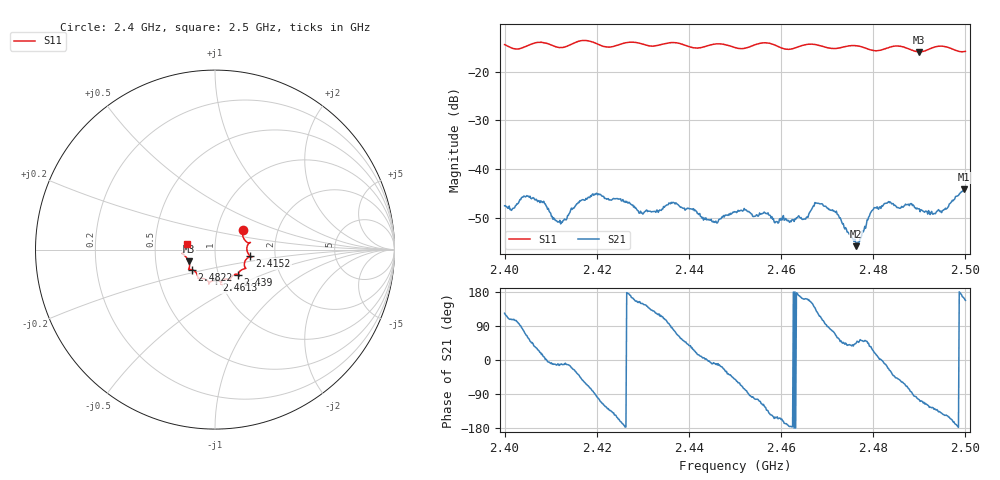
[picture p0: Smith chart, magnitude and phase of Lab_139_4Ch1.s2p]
# Hz S RI R 50
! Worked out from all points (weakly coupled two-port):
!   601 points, 2.4 GHz to 2.5 GHz, reference 50 ohm
!   highest |S21| = -44.13 dB at 2.4997 GHz (marker M1); lowest = -55.9 dB at 2.4763 GHz (marker M2)
!   lowest |S11| = -15.9 dB at 2.49 GHz (marker M3), VSWR 1.38, Z = 36.9 - j4.86 ohm
!   |S11| at or under -10 dB: start of sweep to end of sweep
!   S12 and S22 are empty: the file has one direction only
!   S11 on the Smith chart (normalised r, x): 2.4 GHz: 1.33, +0.30; 2.4152 GHz: 1.48, -0.11; 2.439 GHz: 1.24, -0.36; 2.4613 GHz: 0.96, -0.34; 2.4822 GHz: 0.76, -0.17; 2.5 GHz: 0.72, +0.05
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2.4e9  0.1551 0.1102  -0.00232 0.0035  0 0  0 0
2.405167e9  0.1832 0.0385  0.00286 0.00442  0 0  0 0
2.412e9  0.1773 0.00659  0.00291 -0.000589  0 0  0 0
2.415167e9  0.1954 -0.0359  0.00362 -0.00183  0 0  0 0
2.416667e9  0.2048 -0.0418  0.0031 -0.00365  0 0  0 0
2.420333e9  0.1863 -0.0435  -0.00112 -0.00544  0 0  0 0
2.433333e9  0.1323 -0.1326  -0.00178 0.00311  0 0  0 0
2.436167e9  0.1345 -0.1475  0.000353 0.00454  0 0  0 0
2.439e9  0.1278 -0.1388  0.00261 0.00299  0 0  0 0
2.445667e9  0.0849 -0.1732  0.00282 -0.000476  0 0  0 0
2.45e9  0.0683 -0.1638  0.00229 -0.00282  0 0  0 0
2.461333e9  0.00699 -0.17  -0.0029 -0.000478  0 0  0 0
2.466667e9  -0.0332 -0.1896  -0.00337 0.00193  0 0  0 0
2.471667e9  -0.0612 -0.1621  0.00126 0.00344  0 0  0 0
2.476333e9  -0.0942 -0.1598  0.00113 0.00115  0 0  0 0
2.479833e9  -0.1051 -0.1287  0.00337 0.00171  0 0  0 0
2.482167e9  -0.1278 -0.1121  0.00423 -0.000364  0 0  0 0
2.483333e9  -0.139 -0.1106  0.00427 -0.00179  0 0  0 0
2.49e9  -0.1469 -0.0642  -0.000989 -0.00378  0 0  0 0
2.495e9  -0.1823 -0.0211  -0.00294 -0.0023  0 0  0 0
2.499667e9  -0.1585 0.0276  -0.00597 0.00174  0 0  0 0
2.5e9  -0.1586 0.034  -0.00567 0.00235  0 0  0 0
